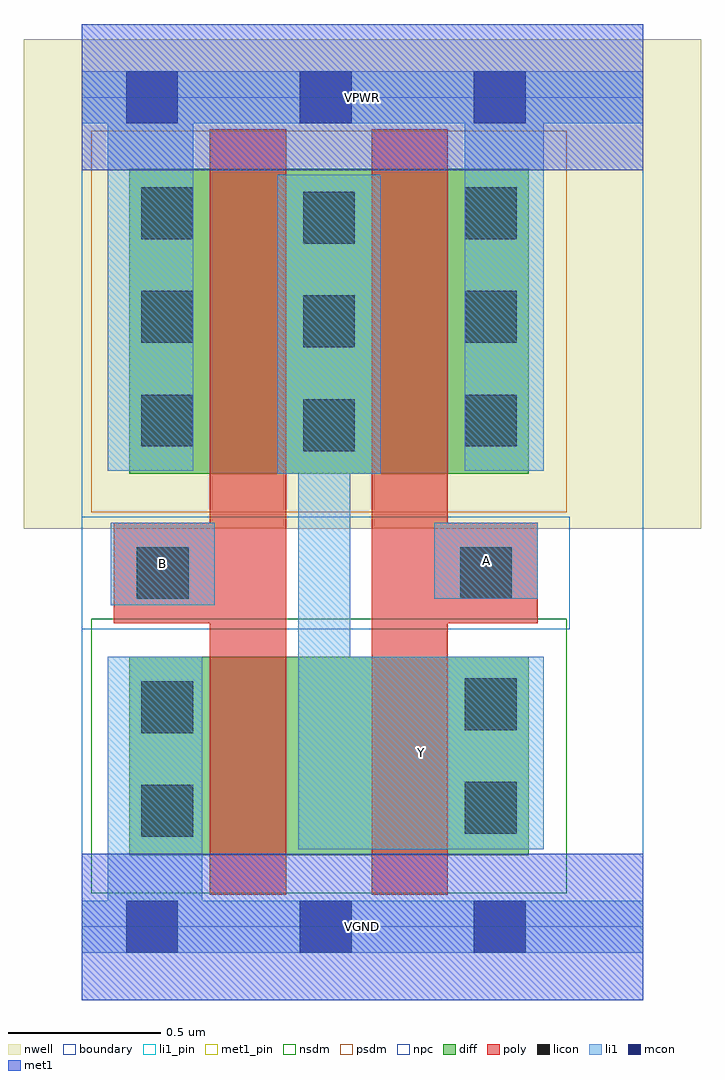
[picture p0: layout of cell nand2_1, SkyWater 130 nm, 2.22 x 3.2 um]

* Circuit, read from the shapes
.subckt nand2_1 A B VGND VPWR Y
XM1 n1 B VGND VSUBS sky130_fd_pr__nfet_01v8 w=0.65 l=0.25
XM2 Y A n1 VSUBS sky130_fd_pr__nfet_01v8 w=0.65 l=0.25
XM3 Y B VPWR n2 sky130_fd_pr__pfet_01v8 w=1 l=0.25
XM4 VPWR A Y n2 sky130_fd_pr__pfet_01v8 w=1 l=0.25
.ends

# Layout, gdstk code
import gdstk
lib = gdstk.Library(unit=1e-6, precision=1e-09)
def R(c, l, rs):  # rectangles x0, y0, x1, y1
    for r in rs: c.add(gdstk.rectangle(r[:2], r[2:], *l))
def A(c, l, x, y, w, h, nx, ny, dx, dy):  # array of equal rectangles
    R(c, l, [(x+i*dx, y+j*dy, x+i*dx+w, y+j*dy+h) for i in range(nx) for j in range(ny)])
nwell = (64, 20)
diff = (65, 20)
poly = (66, 20)
licon = (66, 44)
li1_pin = (67, 16)
li1 = (67, 20)
mcon = (67, 44)
met1_pin = (68, 16)
met1 = (68, 20)
nsdm = (93, 44)
psdm = (94, 20)
npc = (95, 20)
boundary = (235, 4)

nand2_1 = lib.new_cell('nand2_1')
R(nand2_1, nwell, [(-0.19,1.305,2.03,2.91), (0,1.305,1.84,2.91)])
R(nand2_1, diff, [(0.155,0.235,1.465,0.885), (0.155,1.485,1.465,2.485)])
R(nand2_1, poly, [(0.42,0.105,0.67,2.615), (0.95,0.105,1.2,2.615), (0.105,0.995,0.67,1.325), (0.95,0.995,1.495,1.325)])
A(nand2_1, licon, 0.725, 1.56, 0.17, 0.17, 1, 3, 0, 0.34)
A(nand2_1, licon, 0.195, 1.575, 0.17, 0.17, 1, 3, 0, 0.34)
A(nand2_1, licon, 1.255, 1.575, 0.17, 0.17, 1, 3, 0, 0.34)
R(nand2_1, licon, [(0.195,0.295,0.365,0.465), (1.255,0.305,1.425,0.475), (0.195,0.635,0.365,0.805), (1.255,0.645,1.425,0.815), (0.18,1.075,0.35,1.245), (1.24,1.075,1.41,1.245)])
R(nand2_1, li1_pin, [(0.71,0.255,1.515,0.885), (0.095,1.055,0.435,1.325), (1.155,1.075,1.495,1.325)])
R(nand2_1, li1, [(0,-0.085,1.84,0.085), (0.085,-0.085,0.395,0.885), (0.71,0.255,1.515,0.885), (0.71,0.255,0.88,2.465), (0.095,1.055,0.435,1.325), (1.155,1.075,1.495,1.325), (0.64,1.485,0.98,2.465), (0.085,1.495,0.365,2.805), (1.255,1.495,1.515,2.805), (0,2.635,1.84,2.805)])
A(nand2_1, mcon, 0.145, -0.085, 0.17, 0.17, 3, 2, 0.57, 2.72)
R(nand2_1, met1_pin, [(0,-0.24,1.84,0.24), (0,2.48,1.84,2.96)])
R(nand2_1, met1, [(0,-0.24,1.84,0.24), (0,2.48,1.84,2.96)])
R(nand2_1, nsdm, [(0.03,0.11,1.59,1.01)])
R(nand2_1, psdm, [(0.03,1.36,1.59,2.61)])
R(nand2_1, npc, [(0,0.975,1.6,1.345)])
R(nand2_1, boundary, [(0,0,1.84,2.72)])
nand2_1.add(gdstk.Label('A', (1.325,1.2), layer=67, texttype=5))
nand2_1.add(gdstk.Label('B', (0.265,1.19), layer=67, texttype=5))
nand2_1.add(gdstk.Label('Y', (1.112,0.57), layer=67, texttype=5))
nand2_1.add(gdstk.Label('VPWR', (0.92,2.72), layer=68, texttype=5))
nand2_1.add(gdstk.Label('VGND', (0.92,0), layer=68, texttype=5))
nand2_1.add(gdstk.Label('A', (1.325,1.2), layer=67, texttype=16))
nand2_1.add(gdstk.Label('B', (0.265,1.19), layer=67, texttype=16))
nand2_1.add(gdstk.Label('Y', (1.112,0.57), layer=67, texttype=16))
nand2_1.add(gdstk.Label('VPWR', (0.92,2.72), layer=68, texttype=16))
nand2_1.add(gdstk.Label('VGND', (0.92,0), layer=68, texttype=16))

lib.write_gds('nand2_1.gds')
